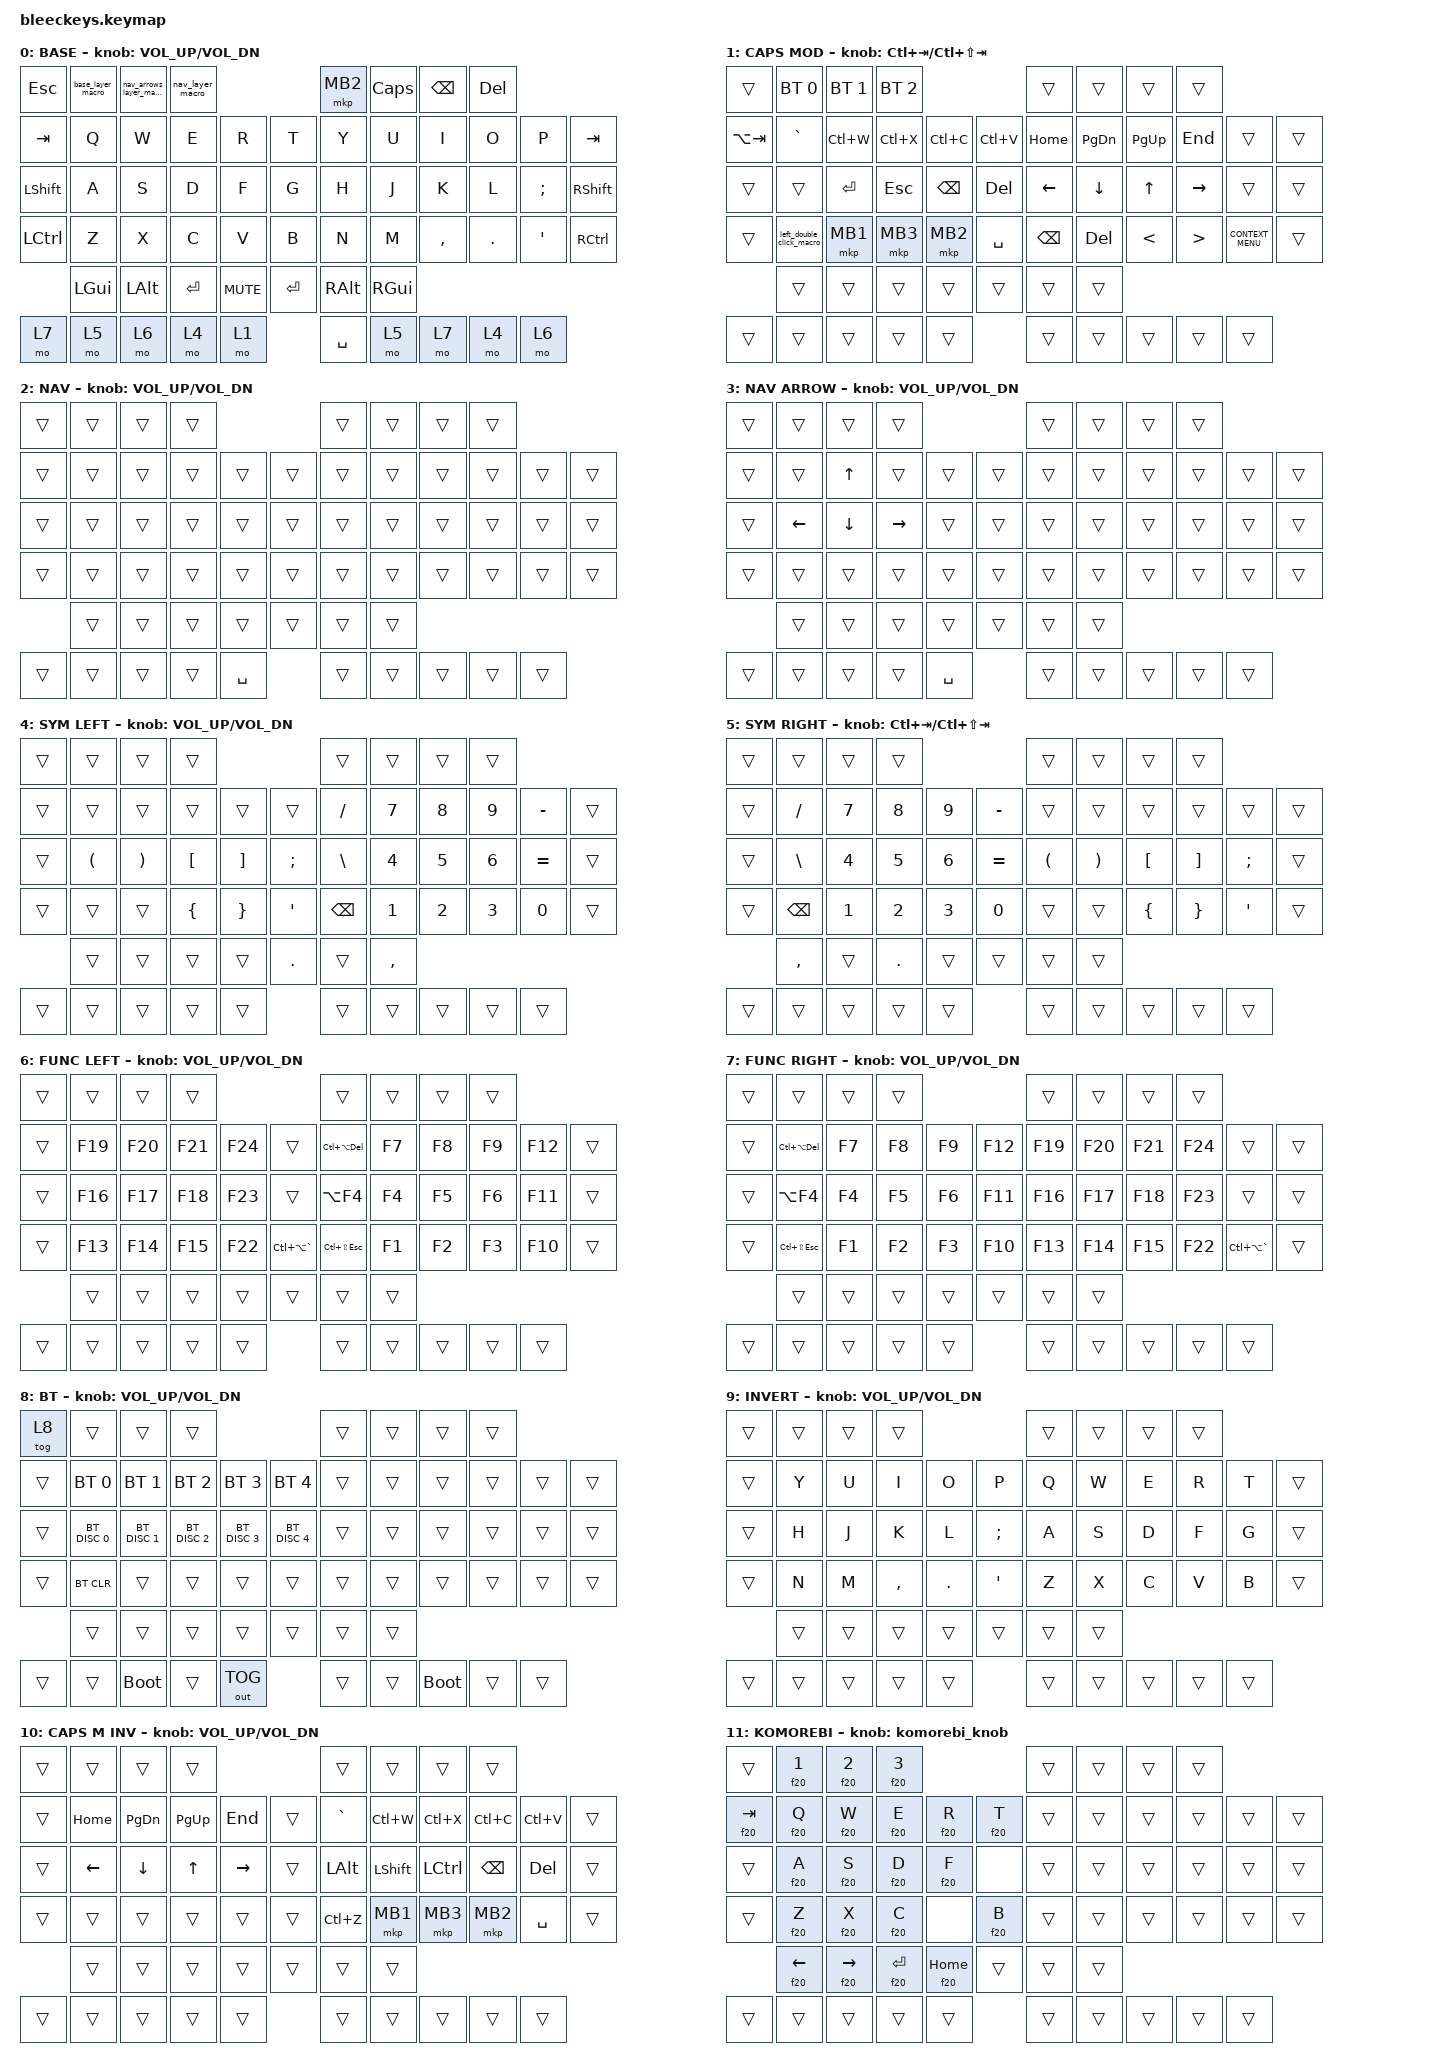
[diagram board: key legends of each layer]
#include <behaviors.dtsi>
#include <dt-bindings/zmk/keys.h>
#include <dt-bindings/zmk/bt.h>
#include <dt-bindings/zmk/ext_power.h>
#include <dt-bindings/zmk/pointing.h>
#include <zephyr/dt-bindings/input/input-event-codes.h>
#include <input/processors.dtsi>    
#include <dt-bindings/zmk/outputs.h>

#define QUICK_TAP_MS 125
#define TAPPING_TERM_MS 150
#define SLOW_TAPPING_TERM_MS 350
#define IDLE_TIMEOUT_MS 5000
#define REQ_IDLE_MS 350

#define KEYS_L 0 1 2 3 4 10 11 12 13 14 20 21 22 23 24 31 32 33
#define KEYS_R 5 6 7 8 9 15 16 17 18 19 25 26 27 28 29 36 37 38
#define KEYS_T 34 35 40 41 42 43 44 45 46 47 48



/ {

    macros {
    base_layer_macro: base_layer_macro {
        compatible = "zmk,behavior-macro";
        #binding-cells = <0>;
        wait-ms = <30>;
        tap-ms = <40>;
        bindings = <&kp F23 &to 0>;
        };
    nav_layer_macro: nav_layer_macro {
        compatible = "zmk,behavior-macro";
        #binding-cells = <0>;
        wait-ms = <30>;
        tap-ms = <40>;
        bindings = <&kp F24 &to 2>;
        };
    nav_arrows_layer_macro: nav_arrows_layer_macro {
        compatible = "zmk,behavior-macro";
        #binding-cells = <0>;
        wait-ms = <30>;
        tap-ms = <40>;
        bindings = <&kp F24 &to 3>;
        };
    left_double_click_macro: left_double_click_macro {
        compatible = "zmk,behavior-macro";
        #binding-cells = <0>;
        wait-ms = <30>;
        tap-ms = <40>;
        bindings = <&mkp MB1>, <&mkp MB1>; // First tap is left click, second is left click
        };
    // KOMOREBI layer: taps the key while holding F20; whkd (~/.config/whkdrc) turns F20 + key into a komorebic command.
    // Shift and Ctrl held on the layer pass through, so F20 + Shift + key is a second command.
    f20: f20 {
        compatible = "zmk,behavior-macro-one-param";
        #binding-cells = <1>;
        wait-ms = <10>;
        tap-ms = <10>;
        bindings
            = <&macro_press &kp F20>
            , <&macro_param_1to1>
            , <&macro_tap &kp MACRO_PLACEHOLDER>
            , <&macro_release &kp F20>
            ;
        };
    };

    behaviors {
        // KOMOREBI layer knob: clockwise next workspace, counter-clockwise previous
        komorebi_knob: komorebi_knob {
            compatible = "zmk,behavior-sensor-rotate";
            #sensor-binding-cells = <0>;
            bindings = <&f20 PG_DN>, <&f20 PG_UP>;
        };
    };

    combos {
        compatible = "zmk,combos";
        combo_capsmod_right {
            timeout-ms = <50>;
            key-positions = <56 59>;
            bindings = <&mo 1>;
        };
        combo_invertKeys_left {
            timeout-ms = <50>;
            key-positions = <52 54>;
            bindings = <&mo 9>;
        };
        combo_invertCapsMod{
            timeout-ms = <50>;
            key-positions = <52 55>;
            bindings = <&mo 10>;
        };
        combo_komorebi{
            timeout-ms = <50>;
            key-positions = <54 55>;
            bindings = <&mo 11>;
        };
        combo_invertKeys_right {
            timeout-ms = <50>;
            key-positions = <57 59>;
            bindings = <&mo 9>;
        };
        combo_bluetooth{
            timeout-ms=<150>;
            key-positions = <1 2 3>;
            bindings = <&tog 8>;
        };
        combo_bluetooth_right{
            timeout-ms=<150>;
            key-positions = <4 5 6>;
            bindings = <&tog 8>;
        };
    };
    keymap {												
        compatible = "zmk,keymap";												
            default_layer {												
                display-name = "BASE";												
            bindings = <												
	&kp ESC	&base_layer_macro	&nav_arrows_layer_macro	&nav_layer_macro					&mkp MB2	&kp CAPSLOCK	&kp BSPC	&kp DEL
	&kp TAB	&kp Q	&kp W	&kp E	&kp R	&kp T	&kp Y	&kp U	&kp I	&kp O	&kp P	&kp TAB
	&kp LSHIFT	&kp A	&kp S	&kp D	&kp F	&kp G	&kp H	&kp J	&kp K	&kp L	&kp SEMI	&kp RSHIFT
	&kp LCTRL	&kp Z	&kp X	&kp C	&kp V	&kp B	&kp N	&kp M	&kp COMMA	&kp DOT	&kp SINGLE_QUOTE	&kp RCTRL
			&kp LGUI	&kp LALT	&kp RET	&kp C_MUTE		&kp RET	&kp RALT	&kp RGUI		
		&mo 7	&mo 5	&mo 6	&mo 4	&mo 1		&kp SPACE	&mo 5	&mo 7	&mo 4	&mo 6
            >;												
												
                sensor-bindings = <&inc_dec_kp C_VOL_UP C_VOL_DN>;												
            };												
            capsmod_layer {												
                display-name = "CAPS MOD";												
            bindings = <												
	&trans	&bt BT_SEL 0	&bt BT_SEL 1	&bt BT_SEL 2					&trans	&trans	&trans	&trans
	&kp LA(TAB)	&kp GRAVE	&kp LC(W)	&kp LC(X)	&kp LC(C)	&kp LC(V)	&kp HOME	&kp PAGE_DOWN	&kp PAGE_UP	&kp END	&trans	&trans
	&trans	&trans	&kp RET	&kp ESC	&kp BSPC	&kp DEL	&kp LEFT_ARROW	&kp DOWN_ARROW	&kp UP_ARROW	&kp RIGHT_ARROW	&trans	&trans
	&trans	&left_double_click_macro	&mkp MB1	&mkp MB3	&mkp MB2	&kp SPACE	&kp BSPC	&kp DEL	&kp LESS_THAN	&kp GREATER_THAN	&kp K_CONTEXT_MENU	&trans
			&trans	&trans	&trans	&trans		&trans	&trans	&trans		
		&trans	&trans	&trans	&trans	&trans		&trans	&trans	&trans	&trans	&trans
            >;												
                sensor-bindings = <&inc_dec_kp LC(TAB) LC(LS(TAB))>;												
            };												
            navigation_layer {												
                display-name = "NAV";												
            bindings = <												
	&trans	&trans	&trans	&trans					&trans	&trans	&trans	&trans
	&trans	&trans	&trans	&trans	&trans	&trans	&trans	&trans	&trans	&trans	&trans	&trans
	&trans	&trans	&trans	&trans	&trans	&trans	&trans	&trans	&trans	&trans	&trans	&trans
	&trans	&trans	&trans	&trans	&trans	&trans	&trans	&trans	&trans	&trans	&trans	&trans
			&trans	&trans	&trans	&trans		&trans	&trans	&trans		
		&trans	&trans	&trans	&trans	&kp SPACE		&trans	&trans	&trans	&trans	&trans
            >;												
                sensor-bindings = <&inc_dec_kp C_VOL_UP C_VOL_DN>;												
            };												
            nav_arrow_layer {												
                display-name = "NAV ARROW";												
            bindings = <												
	&trans	&trans	&trans	&trans					&trans	&trans	&trans	&trans
	&trans	&trans	&kp UP_ARROW	&trans	&trans	&trans	&trans	&trans	&trans	&trans	&trans	&trans
	&trans	&kp LEFT_ARROW	&kp DOWN_ARROW	&kp RIGHT_ARROW	&trans	&trans	&trans	&trans	&trans	&trans	&trans	&trans
	&trans	&trans	&trans	&trans	&trans	&trans	&trans	&trans	&trans	&trans	&trans	&trans
			&trans	&trans	&trans	&trans		&trans	&trans	&trans		
		&trans	&trans	&trans	&trans	&kp SPACE		&trans	&trans	&trans	&trans	&trans
            >;												
                sensor-bindings = <&inc_dec_kp C_VOL_UP C_VOL_DN>;												
            };												
            symbol_left_layer {												
                display-name = "SYM LEFT";												
            bindings = <												
	&trans	&trans	&trans	&trans					&trans	&trans	&trans	&trans
	&trans	&trans	&trans	&trans	&trans	&trans	&kp SLASH	&kp NUMBER_7	&kp NUMBER_8	&kp NUMBER_9	&kp MINUS	&trans
	&trans	&kp LEFT_PARENTHESIS	&kp RIGHT_PARENTHESIS	&kp LEFT_BRACKET	&kp RIGHT_BRACKET	&kp SEMI	&kp BACKSLASH	&kp NUMBER_4	&kp NUMBER_5	&kp NUMBER_6	&kp EQUAL	&trans
	&trans	&trans	&trans	&kp LEFT_BRACE	&kp RIGHT_BRACE	&kp SINGLE_QUOTE	&kp BSPC	&kp NUMBER_1	&kp NUMBER_2	&kp NUMBER_3	&kp NUMBER_0	&trans
			&trans	&trans	&trans	&trans		&kp DOT	&trans	&kp COMMA		
		&trans	&trans	&trans	&trans	&trans		&trans	&trans	&trans	&trans	&trans
            >;												
                sensor-bindings = <&inc_dec_kp C_VOL_UP C_VOL_DN>;												
            };												
            symbol_right_layer {												
                display-name = "SYM RIGHT";												
            bindings = <												
	&trans	&trans	&trans	&trans					&trans	&trans	&trans	&trans
	&trans	&kp SLASH	&kp NUMBER_7	&kp NUMBER_8	&kp NUMBER_9	&kp MINUS	&trans	&trans	&trans	&trans	&trans	&trans
	&trans	&kp BACKSLASH	&kp NUMBER_4	&kp NUMBER_5	&kp NUMBER_6	&kp EQUAL	&kp LEFT_PARENTHESIS	&kp RIGHT_PARENTHESIS	&kp LEFT_BRACKET	&kp RIGHT_BRACKET	&kp SEMI	&trans
	&trans	&kp BSPC	&kp NUMBER_1	&kp NUMBER_2	&kp NUMBER_3	&kp NUMBER_0	&trans	&trans	&kp LEFT_BRACE	&kp RIGHT_BRACE	&kp SINGLE_QUOTE	&trans
			&kp COMMA	&trans	&kp DOT	&trans		&trans	&trans	&trans		
		&trans	&trans	&trans	&trans	&trans		&trans	&trans	&trans	&trans	&trans
            >;												
                sensor-bindings = <&inc_dec_kp LC(TAB) LC(LS(TAB))>;												
            };												
            func_left_layer {												
                display-name = "FUNC LEFT";												
            bindings = <												
	&trans	&trans	&trans	&trans					&trans	&trans	&trans	&trans
	&trans	&kp F19	&kp F20	&kp F21	&kp F24	&trans	&kp LC(LA(DEL))	&kp F7	&kp F8	&kp F9	&kp F12	&trans
	&trans	&kp F16	&kp F17	&kp F18	&kp F23	&trans	&kp LA(F4)	&kp F4	&kp F5	&kp F6	&kp F11	&trans
	&trans	&kp F13	&kp F14	&kp F15	&kp F22	&kp LC(LA(GRAVE))	&kp LC(LS(ESC))	&kp F1	&kp F2	&kp F3	&kp F10	&trans
			&trans	&trans	&trans	&trans		&trans	&trans	&trans		
		&trans	&trans	&trans	&trans	&trans		&trans	&trans	&trans	&trans	&trans
            >;												
                sensor-bindings = <&inc_dec_kp C_VOL_UP C_VOL_DN>;												
            };												
            func_right_layer {												
                display-name = "FUNC RIGHT";												
            bindings = <												
	&trans	&trans	&trans	&trans					&trans	&trans	&trans	&trans
	&trans	&kp LC(LA(DEL))	&kp F7	&kp F8	&kp F9	&kp F12	&kp F19	&kp F20	&kp F21	&kp F24	&trans	&trans
	&trans	&kp LA(F4)	&kp F4	&kp F5	&kp F6	&kp F11	&kp F16	&kp F17	&kp F18	&kp F23	&trans	&trans
	&trans	&kp LC(LS(ESC))	&kp F1	&kp F2	&kp F3	&kp F10	&kp F13	&kp F14	&kp F15	&kp F22	&kp LC(LA(GRAVE))	&trans
			&trans	&trans	&trans	&trans		&trans	&trans	&trans		
		&trans	&trans	&trans	&trans	&trans		&trans	&trans	&trans	&trans	&trans
            >;												
                sensor-bindings = <&inc_dec_kp C_VOL_UP C_VOL_DN>;												
            };												
            bt_layer {												
                display-name = "BT";												
            bindings = <												
	&tog 8	&trans	&trans	&trans					&trans	&trans	&trans	&trans
	&trans	&bt BT_SEL 0	&bt BT_SEL 1	&bt BT_SEL 2	&bt BT_SEL 3	&bt BT_SEL 4	&trans	&trans	&trans	&trans	&trans	&trans
	&trans	&bt BT_DISC 0	&bt BT_DISC 1	&bt BT_DISC 2	&bt BT_DISC 3	&bt BT_DISC 4	&trans	&trans	&trans	&trans	&trans	&trans
	&trans	&bt BT_CLR	&trans	&trans	&trans	&trans	&trans	&trans	&trans	&trans	&trans	&trans
			&trans	&trans	&trans	&trans		&trans	&trans	&trans		
		&trans	&trans	&bootloader	&trans	&out OUT_TOG		&trans	&trans	&bootloader	&trans	&trans
            >;												
                sensor-bindings = <&inc_dec_kp C_VOL_UP C_VOL_DN>;												
            };												
            invert_layer {												
                display-name = "INVERT";												
            bindings = <												
	&trans	&trans	&trans	&trans					&trans	&trans	&trans	&trans
	&trans	&kp Y	&kp U	&kp I	&kp O	&kp P	&kp Q	&kp W	&kp E	&kp R	&kp T	&trans
	&trans	&kp H	&kp J	&kp K	&kp L	&kp SEMI	&kp A	&kp S	&kp D	&kp F	&kp G	&trans
	&trans	&kp N	&kp M	&kp COMMA	&kp DOT	&kp SINGLE_QUOTE	&kp Z	&kp X	&kp C	&kp V	&kp B	&trans
			&trans	&trans	&trans	&trans		&trans	&trans	&trans		
		&trans	&trans	&trans	&trans	&trans		&trans	&trans	&trans	&trans	&trans
            >;												
                sensor-bindings = <&inc_dec_kp C_VOL_UP C_VOL_DN>;												
            };												
            caps_mod_inverted {												
                display-name = "CAPS M INV";												
                bindings = <												
	&trans	&trans	&trans	&trans					&trans	&trans	&trans	&trans
	&trans	&kp HOME	&kp PAGE_DOWN	&kp PAGE_UP	&kp END	&trans	&kp GRAVE	&kp LC(W)	&kp LC(X)	&kp LC(C)	&kp LC(V)	&trans
	&trans	&kp LEFT_ARROW	&kp DOWN_ARROW	&kp UP_ARROW	&kp RIGHT_ARROW	&trans	&kp LALT	&kp LSHIFT	&kp LCTRL	&kp BSPC	&kp DEL	&trans
	&trans	&trans	&trans	&trans	&trans	&trans	&kp LC(Z)	&mkp MB1	&mkp MB3	&mkp MB2	&kp SPACE	&trans
			&trans	&trans	&trans	&trans		&trans	&trans	&trans
		&trans	&trans	&trans	&trans	&trans		&trans	&trans	&trans	&trans	&trans
            >;
                sensor-bindings = <&inc_dec_kp C_VOL_UP C_VOL_DN>;
            };
            komorebi_layer {
                display-name = "KOMOREBI";
                // Left half only; each &f20 key sends F20 + that key for whkd. Shift and Ctrl stay as they are.
                bindings = <
	&trans	&f20 N1	&f20 N2	&f20 N3					&trans	&trans	&trans	&trans
	&f20 TAB	&f20 Q	&f20 W	&f20 E	&f20 R	&f20 T	&trans	&trans	&trans	&trans	&trans	&trans
	&trans	&f20 A	&f20 S	&f20 D	&f20 F	&none	&trans	&trans	&trans	&trans	&trans	&trans
	&trans	&f20 Z	&f20 X	&f20 C	&none	&f20 B	&trans	&trans	&trans	&trans	&trans	&trans
			&f20 LEFT	&f20 RIGHT	&f20 RET	&f20 HOME		&trans	&trans	&trans
		&trans	&trans	&trans	&trans	&trans		&trans	&trans	&trans	&trans	&trans
            >;
                sensor-bindings = <&komorebi_knob>;
            };
    };												
};												
